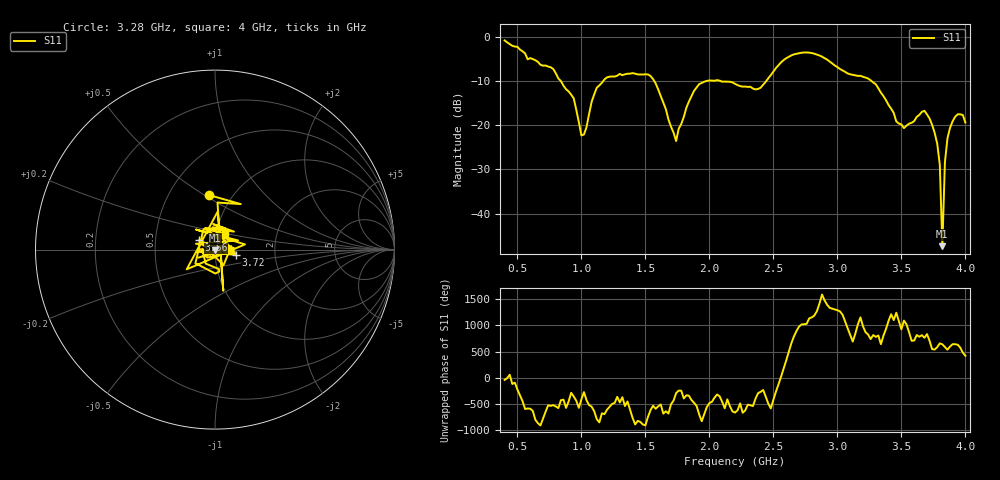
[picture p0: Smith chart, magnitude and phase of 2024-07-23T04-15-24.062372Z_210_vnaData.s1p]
!Created with skrf (http://scikit-rf.org).
# Hz S RI R 50.0
!freq ReS11 ImS11
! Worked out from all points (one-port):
!   181 points, 400 MHz to 4 GHz, reference 50 ohm
!   lowest |S11| = -47.4 dB at 3.82 GHz (marker M1), VSWR 1.01, Z = 50.1 - j0.422 ohm
!   |S11| at or under -10 dB: 1.57 GHz to 1.974 GHz (404.3 MHz wide, 22.8 % of centre); 2.09 GHz to 2.443 GHz (353.3 MHz wide, 15.6 % of centre); 3.268 GHz to end of sweep (the widest 3 of 4)
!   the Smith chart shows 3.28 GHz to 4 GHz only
!   S11 on the Smith chart (normalised r, x): 3.28 GHz: 0.78, +0.52; 3.56 GHz: 0.83, +0.09; 3.72 GHz: 1.26, -0.07; 4 GHz: 1.10, +0.20
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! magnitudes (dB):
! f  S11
! 400 MHz  -0.8
! 780 MHz  -7.2
! 860 MHz  -11.0
! 940 MHz  -13.9
! 1 GHz  -22.3
! 1.12 GHz  -11.5
! 1.3 GHz  -8.4
! 1.54 GHz  -8.8
! 1.74 GHz  -23.6
! 1.76 GHz  -20.8
! 1.92 GHz  -10.7
! 2.2 GHz  -10.6
! 2.4 GHz  -11.5
! 2.66 GHz  -3.9
! 2.86 GHz  -4.2
! 3.1 GHz  -8.4
! 3.28 GHz  -10.3
! 3.46 GHz  -19.1
! 3.56 GHz  -19.6
! 3.68 GHz  -16.7
! 3.72 GHz  -18.5
! 3.78 GHz  -24.2
! 3.8 GHz  -28.9
! 3.82 GHz  -47.4
! 3.84 GHz  -28.4
! 3.86 GHz  -22.9
! 3.94 GHz  -17.5
! 4 GHz  -19.4
